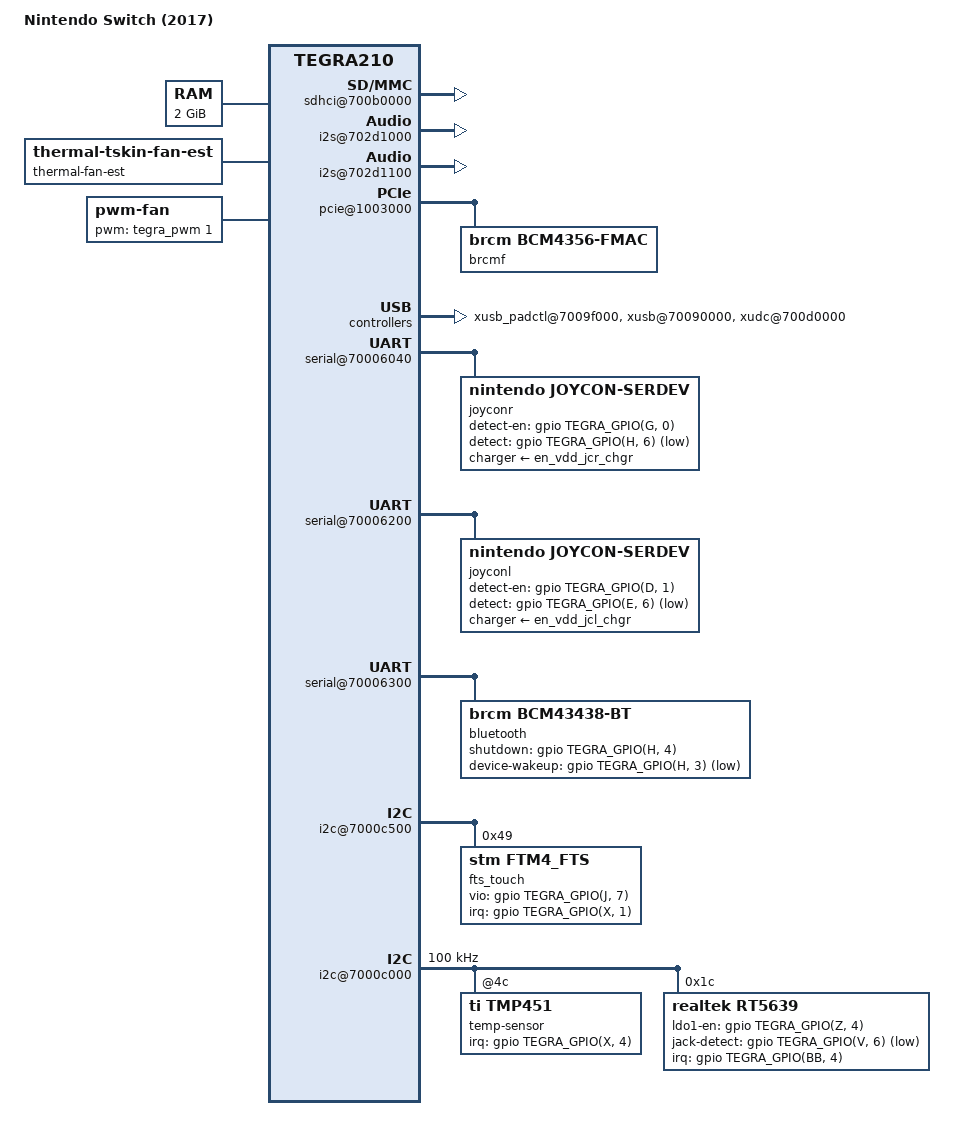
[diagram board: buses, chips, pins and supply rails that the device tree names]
/*
 * Copyright (c) 2019-2020, Billy Laws <blaws05@gmail.com>
 * Copyright (c) 2018-2023, CTCaer <ctcaer@gmail.com>
 *
 * This program is free software; you can redistribute it and/or modify
 * it under the terms of the GNU General Public License as published by
 * the Free Software Foundation; version 2 of the License.
 *
 * This program is distributed in the hope that it will be useful, but WITHOUT
 * ANY WARRANTY; without even the implied warranty of MERCHANTABILITY or
 * FITNESS FOR A PARTICULAR PURPOSE.  See the GNU General Public License for
 * more details.
 *
 */

/dts-v1/;

/memreserve/ 0x80000000 0x00020000;

#include <t210-common-platforms/tegra210-common.dtsi>
#include <t210-common-platforms/tegra210-cpufreq.dtsi>
#include "tegra210-odin-gpio.dtsi"
#include "tegra210-odin-pinmux.dtsi"
#include "tegra210-odin-prods.dtsi"
#include <tegra210-soc/tegra210-sdhci.dtsi>
#include "tegra210-nx-keys.dtsi"
#include <tegra210-soc/tegra210-audio.dtsi>
#include <t210-common-platforms/tegra210-thermal-nct72-p2530.dtsi>
#include <tegra210-soc/tegra210-thermal-Tboard-Tdiode.dtsi>
#include <dt-bindings/clock/tegra210-car.h>
#include <dt-bindings/reset/tegra210-car.h>
#include <dt-bindings/soc/tegra-pmc.h>
#include <dt-bindings/thermal/tegra124-soctherm.h>
#include <dt-bindings/thermal/tegra210-trips.h>

/ {
	model = "Nintendo Switch (2017)";
	compatible = "nvidia,odin", "nintendo,icosa", "nintendo,nx", "nvidia,tegra210";

	nvidia,boardids = "2595:0000:A0";
	nvidia,proc-boardid = "2595:0000:A0";
	nvidia,pmu-boardid = "2595:0000:A0";
	#address-cells = <2>;
	#size-cells = <2>;

	serial-number = "1234";

	chosen {
		bootargs = "root=/dev/mmcblk0p1 rw rootwait fbcon=rotate:3 printk.synchronous=1 loglevel=8 console=fb0 console=ttyGS0";
		nvidia,bluetooth-mac = "11:22:33:44:55:66";
		nvidia,wifi-mac = "11:22:33:44:55:77";
	};

	rtc {
		nvidia,pmc-wakeup = <&tegra_pmc PMC_WAKE_TYPE_EVENT 16
			PMC_TRIGGER_TYPE_HIGH>; /* rtc_irq */
	};

	tegra_fiq_debugger {
		status = "disabled";
	};

	pmc@7000e400 {
		/delete-property/ nvidia,secure-pmc;
		nvidia,invert-interrupt;
		nvidia,suspend-mode = <0>;
		nvidia,cpu-pwr-good-time = <0>;
		nvidia,cpu-pwr-off-time = <0>;
		nvidia,core-pwr-good-time = <13092 7752>;
		nvidia,core-pwr-off-time = <44188>;
		nvidia,core-pwr-req-active-high;
		nvidia,sys-clock-req-active-high;
		#nvidia,wake-cells = <3>;
		iopad-defaults {
			audio-hv-pads {
				pins = "audio-hv";
				nvidia,power-source-voltage = <TEGRA_IO_PAD_VOLTAGE_1800000UV>;
			};

			spi-hv-pads {
				pins = "spi-hv";
				nvidia,power-source-voltage = <TEGRA_IO_PAD_VOLTAGE_1800000UV>;
			};

			gpio-pads {
				pins = "gpio";
				nvidia,power-source-voltage = <TEGRA_IO_PAD_VOLTAGE_1800000UV>;
			};

			sdmmc1-pads {
				pins = "sdmmc1";
				nvidia,enable-voltage-switching;
			};

			sdmmc3-pads {
				pins = "sdmmc3";
				nvidia,power-source-voltage = <TEGRA_IO_PAD_VOLTAGE_1800000UV>;
				nvidia,enable-voltage-switching;
				low-power-enable;
			};
		};
	};

	memory@80000000 {
		device_type = "memory";
		reg = < 0x0 0x80000000 0x0 0x80000000 >;
	};

	sdhci@700b0600 { /* SDMMC4 for EMMC */
		cd-gpios = <&gpio TEGRA_GPIO(Z, 1) 0>;
		bus-width = <8>;
		uhs-mask = <0x0>;       /* hs400 */
		tap-delay = <0>;
		trim-delay = <8>;
		only-1-8-v;
		no-sdio;
		no-sd;
		max-clk-limit = <200000000>;
		pll_source = "pll_p", "pll_c4_out2";
		clocks = <&tegra_car TEGRA210_CLK_SDMMC4>,
			   <&tegra_car TEGRA210_CLK_PLL_P>,
			   <&tegra_car TEGRA210_CLK_PLL_C4_OUT2>,
			   <&tegra_car TEGRA210_CLK_SDMMC_LEGACY>;
		clock-names = "sdmmc", "pll_p", "pll_c4_out2", "sdmmc_legacy_tm";
		status = "disabled";
	};

	sdhci@700b0400 { /* SDMMC3 Not Used */
		status = "disabled";
	};

	sdhci@700b0200 { /* SDMMC2 for Gamecard */
		uhs-mask = <0x0>;	/* hs400 */
		tap-delay = <0>;
		trim-delay = <8>;
		nvidia,is-ddr-tap-delay;
		nvidia,ddr-tap-delay = <0>;
		mmc-ocr-mask = <0>;
		dqs-trim-delay = <17>;
		dqs-trim-delay-hs533 = <24>;
		max-clk-limit = <200000000>;
		bus-width = <8>;
		built-in;
		calib-3v3-offsets = <0x0505>;
		calib-1v8-offsets = <0x0505>;
		compad-vref-3v3 = <0x7>;
		compad-vref-1v8 = <0x7>;
		nvidia,en-io-trim-volt;
		nvidia,is-emmc;
		nvidia,enable-cq;
		ignore-pm-notify;
		keep-power-in-suspend;
		non-removable;
		cap-mmc-highspeed;
		cap-sd-highspeed;
		mmc-ddr-1_8v;
		mmc-hs200-1_8v;
		mmc-hs400-1_8v;
		nvidia,enable-strobe-mode;
		pll_source = "pll_p", "pll_c4_out2";
		clocks = <&tegra_car TEGRA210_CLK_SDMMC2>,
			   <&tegra_car TEGRA210_CLK_PLL_P>,
			   <&tegra_car TEGRA210_CLK_PLL_C4_OUT2>;
		clock-names = "sdmmc", "pll_p", "pll_c4_out2";
		status = "disabled";
	};

	sdhci@700b0000 { /* SDMMC1 for uSD card */
		uhs-mask = <0x0c>;
		tap-delay = <4>;
		trim-delay = <2>;
		power-off-rail;
		default-drv-type = <0x01>;
		nvidia,update-pinctrl-settings;
		nvidia,sd-device;
		no-sdio;
		no-mmc;
		max-clk-limit = <200000000>;
		default-drv-type = <1>;
		pll_source = "pll_p", "pll_c4_out2";
		clocks = <&tegra_car TEGRA210_CLK_SDMMC1>,
			   <&tegra_car TEGRA210_CLK_PLL_P>,
			   <&tegra_car TEGRA210_CLK_PLL_C4_OUT2>,
			   <&tegra_car TEGRA210_CLK_SDMMC_LEGACY>;
		clock-names = "sdmmc", "pll_p", "pll_c4_out2", "sdmmc_legacy_tm";
		nvidia,cd-wakeup-capable;
		status = "okay";

		nvidia,pmc-wakeup = <&tegra_pmc
			PMC_WAKE_TYPE_EVENT 35 (PMC_TRIGGER_TYPE_RISING | PMC_TRIGGER_TYPE_FALLING)>; /* gpio_pz1_IB */
	};

	aconnect@702c0000 {
		status = "okay";

		adma@702e2000  {
			status = "okay";
		};

		ahub {
			i2s@702d1000 {
				pinctrl-names = "dap_active", "dap_inactive";
				pinctrl-0 = <>;
				pinctrl-1 = <>;
				regulator-supplies = "vdd-1v8-audio-hv", "vdd-1v8-audio-hv-bias";
				vdd-1v8-audio-hv-supply = <&max77620_sd3>;
				vdd-1v8-audio-hv-bias-supply = <&max77620_sd3>;
				fsync-width = <31>;
				status = "okay";
			};

			i2s@702d1100 {
				pinctrl-names = "dap_active", "dap_inactive";
				pinctrl-0 = <>;
				pinctrl-1 = <>;
				regulator-supplies = "vdd-1v8-spi-hv", "vdd-1v8-spi-hv-bias";
				vdd-1v8-spi-hv-supply = <&max77620_sd3>;
				vdd-1v8-spi-hv-bias-supply = <&max77620_sd3>;
				fsync-width = <0>;
				status = "okay";
			};

			i2s@702d1200 {
				status = "disabled";
			};

			i2s@702d1300 {
				status = "disabled";
			};

			i2s@702d1400 {
				status = "disabled";
			};
		};

		adsp_audio {
			status = "disabled";
		};
	};

	pcie@1003000 {
		/* nvidia,wake-gpio = <&gpio TEGRA_GPIO(A, 2) 0>; */ /* BCM4356 WIFI PME */

		avdd-pll-uerefe-supply = <&max77620_ldo7>;
		hvddio-pex-supply = <&max77620_sd3>;
		dvddio-pex-supply = <&max77620_ldo1>;
		dvdd-pex-pll-supply = <&max77620_ldo1>;
		hvdd-pex-pll-e-supply = <&max77620_sd3>;
		vddio-pex-ctl-supply = <&max77620_sd3>;
		status = "okay";

		pci@1,0 {
			phys =	<&{/xusb_padctl@7009f000/pads/pcie/lanes/pcie-4}>, /* Referred to plat config */
				<&{/xusb_padctl@7009f000/pads/pcie/lanes/pcie-3}>,
				<&{/xusb_padctl@7009f000/pads/pcie/lanes/pcie-2}>,
				<&{/xusb_padctl@7009f000/pads/pcie/lanes/pcie-1}>;
			phy-names = "pcie-0", "pcie-1", "pcie-2", "pcie-3";
			nvidia,num-lanes = <4>;
			nvidia,sw-link-disable; /* Nothing is connected, so skip detection */
			status = "okay"; /* Driver hangs on T210 if disabled */
		};

		pci@2,0 {
			phys = <&{/xusb_padctl@7009f000/pads/pcie/lanes/pcie-0}>;
			phy-names = "pcie-0";
			status = "okay";

			brcmf { /* PCIE-0 (Port 1) */
				compatible = "brcm,bcm4356-fmac";
				brcm,reset_on_wake;

				/* nvidia,pmc-wakeup = <&tegra_pmc
					PMC_WAKE_TYPE_EVENT 8 PMC_TRIGGER_TYPE_HIGH>; */ /* WiFi Wake Ap (H, 2) */
			};
		};
	};

	xusb_padctl@7009f000 {
		status = "okay";
		usb3-no-mapping-war = <0>; /* Enable if T210 and usb3 is disabled */

		pads {
			usb2 {
				status = "okay";

				lanes {
					usb2-0 {
						nvidia,function = "xusb";
						status = "okay";
					};
				};
			};

			pcie {
				status = "okay";

				lanes {
					/* BCM4356A3-WiFi */
					pcie-0 {
						nvidia,function = "pcie-x1";
						status = "okay";
					};

					/* Unused ports */
					pcie-1 {
						nvidia,function = "pcie-x4";
						status = "okay";
					};
					pcie-2 {
						nvidia,function = "pcie-x4";
						status = "okay";
					};
					pcie-3 {
						nvidia,function = "pcie-x4";
						status = "okay";
					};
					pcie-4 {
						nvidia,function = "pcie-x4";
						status = "okay";
					};
					pcie-5 {
						nvidia,function = "xusb";
						status = "okay";
					};

					/* USB3 port */
					pcie-6 {
						nvidia,function = "xusb";
						status = "okay";
					};
				};
			};
		};

		ports {
			usb2-0 {
				status = "okay";
				mode = "otg";
				nvidia,usb3-port-fake = <0>;
			};

			usb3-0 {
				nvidia,usb2-companion = <0>;
				status = "okay";
			};
		};
	};

	cpufreq {
		cpu-scaling-data {
			freq-table = <
				102000
				204000
				306000
				408000
				510000
				612000
				714000
				816000
				918000
				1020000
				1122000
				1224000
				1326000
				1428000
				1581000
				1683000
				1785000
				/* OC */
				1887000
				1989000
				2091000
			>;
			max-frequency = <2091000>;
			max-safe-frequency = <1785000>;
			preserve-across-suspend;
		};

		emc-scaling-data {
			emc-cpu-limit-table = <
				/* CPU    EMC */
				102000	68000
				204800	102000
				307200	204000
				403000	408000
				710400	665600
				921600	1600000
				1581000	2131200
			>;
		};
	};

	dvfs {
		compatible = "nvidia,tegra210-dvfs";
		/* Retail regulator: Max: 921600, Hard max 921600. */
		nvidia,gpu-max-freq-khz = <921600>;
	};

	gpu-dvfs-rework {
		status = "okay";
	};

	/* Console port */
	serial@70006000 {
		status = "disabled";
		console-port;
		sqa-automation-port;
		enable-rx-poll-timer;

		/delete-property/ resets;
		/delete-property/ reset-names;
	};

	/* Right Joycon */
	serial@70006040 {
		status = "okay";
		nvidia,invert-txd;
		nvidia,invert-rts;

		joyconr {
			status = "okay";
			name = "joyconr";
			compatible = "nintendo,joycon-serdev";
			charger-supply = <&en_vdd_jcr_chgr>;
			detect-en-gpios = <&gpio TEGRA_GPIO(G, 0) GPIO_ACTIVE_HIGH>;
			detect-gpios = <&gpio TEGRA_GPIO(H, 6) GPIO_ACTIVE_LOW>;
		};
	};

	/* Left Joycon */
	serial@70006200 {
		status = "okay";
		nvidia,invert-txd;
		nvidia,invert-rts;

		joyconl {
			status = "okay";
			name = "joyconl";
			compatible = "nintendo,joycon-serdev";
			charger-supply = <&en_vdd_jcl_chgr>;
			detect-en-gpios = <&gpio TEGRA_GPIO(D, 1) GPIO_ACTIVE_HIGH>;
			detect-gpios = <&gpio TEGRA_GPIO(E, 6) GPIO_ACTIVE_LOW>;
		};
	};

	serial@70006300 {
		dma-names = "tx";
		status = "okay";

		bluetooth {
			compatible = "brcm,bcm43438-bt";
			shutdown-gpios = <&gpio TEGRA_GPIO(H, 4) GPIO_ACTIVE_HIGH>;
			device-wakeup-gpios = <&gpio TEGRA_GPIO(H, 3) GPIO_ACTIVE_LOW>;
			/* host-wakeup-gpios = <&gpio TEGRA_GPIO(H, 5) GPIO_ACTIVE_LOW>; */ /* Enables auto-sleep */
			max-speed = <3000000>; /* Max supported 4 MBaud */
			sco-routing = <1>; /* Over HCI */

			/* nvidia,pmc-wakeup = <&tegra_pmc PMC_WAKE_TYPE_EVENT 52 PMC_TRIGGER_TYPE_LOW>; */ /* bt_wake_ap_IB */
		};
	};

	mailbox@70098000 {
		status = "okay";
	};

	extcon {
		extcon@0 {
			status = "disabled";
		};
	};

	/delete-node/ psy_extcon_xudc;
	/delete-node/ usb_cd@7009f000;

	psy_extcon {
		compatible = "power-supply-extcon";
		extcon-cables = <&bm92t 1>;
		extcon-cable-names = "usb-charger";
	};

	xusb@70090000 {
		status = "okay";
		#extcon-cells = <1>;
		phys =  <&{/xusb_padctl@7009f000/pads/usb2/lanes/usb2-0}>,
			<&{/xusb_padctl@7009f000/pads/pcie/lanes/pcie-6}>;
		phy-names = "usb2-0", "usb3-0";
		extcon-cables = <&bm92t 0>;
		extcon-cable-names = "id";
		nvidia,boost_cpu_freq = <1200>;
	};

	xudc@700d0000 {
		#extcon-cells = <1>;
		status = "okay";
		phys =  <&{/xusb_padctl@7009f000/pads/usb2/lanes/usb2-0}>,
			<&{/xusb_padctl@7009f000/pads/pcie/lanes/pcie-6}>;
		phy-names = "usb2", "usb3";
		extcon-cables = <&bm92t 1>;
		extcon-cable-names = "vbus";
		nvidia,boost_cpu_freq = <1200>;
	};

	xotg {
		#extcon-cells = <1>;
		status = "disabled";
	};

	thermal_fan_est_shared_data: tfesd {
		secret = <37>;
		toffset = <0>;
		polling_period = <1100>;
		ndevs = <2>;
		cdev_type = "pwm-fan";
		tzp_governor_name = "continuous_therm_gov";

		dev1 {
			dev_data = "Tdiode_tegra";
			group = <0>;

			/* Odin SoC Console */
			coeffs_mode0 = <6182 112480>;

			/* Odin SoC Handheld */
			coeffs_mode1 = <5464 174190>;
		};

		dev2 {
			dev_data = "Tboard_tegra";
			group = <1>;

			/* Odin PCB Console */
			coeffs_mode0 = <6396 119440>;

			/* Odin PCB Handheld */
			coeffs_mode1 = <5817 129580>;
		};
	};

	thermal-fan-est {
		compatible = "thermal-tskin-fan-est";
		name = "thermal-fan-est";
		status = "okay";

		num_resources = <0>;
		shared_data = <&thermal_fan_est_shared_data>;
		trip_length = <10>;

		thermal-zone-params {
			governor-name = "continuous_therm_gov";
			iir_power = <7>;
			iir_min = <10>;
			iir_max = <1000>;
			iir_gain_qp = <1000>;
			iir_upper_width = <5000>;
			iir_lower_width = <15000>;
		};

		profiles {
			default = "Console";
			Console {
				name = "Console";
				active_trip_temps = <
					0 36000 40000 43000 53000 58000
					70000 80000 90000 100000>; /* Unused */
				active_hysteresis = <0 0 3900 2900 0 0 0 0 0 0>;
			};
			Handheld {
				name = "Handheld";
				active_trip_temps = <
					0 36000 40000 43000 48000 53000 58000 60000
					90000 100000>; /* Unused */
				active_hysteresis = <0 0 3900 2900 0 4900 0 0 0 0>;
			};
			/* Uses Handheld tskin coeffs and Console fan duties */
			Cool {
				name = "Cool";
				active_trip_temps = <
					0 32000 37000 40000 45000 55000
					70000 80000 90000 100000>; /* Unused */
				active_hysteresis = <0 0 0 0 0 0 0 0 0 0>;
			};
		};
	};

	pwm_fan_shared_data: pfsd {
		secret = <47>;
		num_resources = <0>;
		active_steps = <10>;
		active_rpm = <0 0 2600 2600 4900 6900 10000 10000 10000 10000>;
		active_rru = <10 10 10 1 1 1 1 1 1 1>;
		active_rrd = <10 10 10 1 1 1 1 1 1 1>;
		state_cap_lookup = <1 1 2 6 6 6 6 6 6 6>;

		pwm_period = <33333>;
		pwm_id = <1>;
		pwm_polarity = <1>;
		step_time = <100>;
		state_cap = <6>;
		active_pwm_max = <256>;
		tach_gpio =  <&gpio TEGRA_GPIO(S, 7) GPIO_ACTIVE_LOW>; /* TEGRA_GPIO_PS7 */
		pwm_gpio = <&gpio TEGRA_GPIO(V, 4) GPIO_ACTIVE_LOW>; /* TEGRA_GPIO_PV4 */
		tach_period = <1000>;
	};

	pwm-fan {
		compatible = "pwm-fan";
		name = "pwm-fan";
		status = "okay";
		pwms = <&tegra_pwm 1 33333>;
		shared_data = <&pwm_fan_shared_data>;
		continuous_gov_boot_on;

		profiles {
			default = "Console";
			Console {
				name = "Console";
				state_cap = <6>;
				active_pwm = <0 0 51 51 153 255 255 255 255 255>;
			};
			Handheld {
				name = "Handheld";
				state_cap = <7>;
				active_pwm = <0 0 51 51 102 153 204 255 255 255>;
			};
			Cool {
				name = "Cool";
				state_cap = <6>;
				active_pwm = <0 0 51 51 153 255 255 255 255 255>;
			};
		};
	};

	ptm {
		status = "disabled";
	};

	i2c@7000c500 {
		fts_touch: fts@49 {
			compatible = "stm,ftm4_fts";
			status = "okay";
			reg = <0x49>;
			interrupt-parent = <&gpio>;
			interrupts = <TEGRA_GPIO(X, 1) IRQ_TYPE_LEVEL_LOW>;
			stm,vio-gpio = <&gpio TEGRA_GPIO(J, 7) GPIO_ACTIVE_HIGH>;
			stm,irq_type = <0x2000>; /* IRQF_ONESHOT */
			stm,regulator_avdd = "vdd-tp-2v9";
			stm,max_coords = <1280 720>;
			stm,max-real-coords = <1264 704>;
			stm,edge-offset = <15 15>;
			stm,delayed-open;
			stm,delayed-open-time = <0>;
		};
	};

	i2c@7000c000 {
		clock-frequency = <100000>;

		temp-sensor@4c {
			compatible = "ti,tmp451";
			interrupt-parent = <&gpio>;
			interrupts = <TEGRA_GPIO(X, 4) IRQ_TYPE_LEVEL_LOW>;
			loc-shutdown-limit = <120>;
			ext-shutdown-limit = <96>;

			/delete-node/ loc;
			/delete-node/ ext;
		};

		rt5639: rt5639@1c {
			compatible = "realtek,rt5639";
			reg = <0x1c>;
			interrupt-parent = <&gpio>;
			interrupts = <TEGRA_GPIO(BB, 4) IRQ_TYPE_EDGE_RISING>;
			realtek,ldo1-en-gpios = <&gpio TEGRA_GPIO(Z, 4) GPIO_ACTIVE_HIGH>;
			realtek,jack-detect-gpios = <&gpio TEGRA_GPIO(V, 6) GPIO_ACTIVE_LOW>;
			realtek,over-current-threshold-microamp = <600>;
			realtek,over-current-scale-factor = <2>;
			realtek,external-microphone;
			realtek,sel-jd-source = <4>;
			realtek,jack-detect-is-jd1;
			realtek,eq-config-type = <0>;
		};
	};

	tegra_sound: sound {
		compatible = "nvidia,tegra-audio-t210ref-mobile-rt5640";
		nvidia,model = "tegra-snd-t210ref-mobile-rt565x";

		clocks = <&tegra_car TEGRA210_CLK_PLL_P_OUT1>,
						<&tegra_car TEGRA210_CLK_PLL_A>,
						<&tegra_car TEGRA210_CLK_PLL_A_OUT0>,
						<&tegra_car TEGRA210_CLK_D_AUDIO>,
						<&tegra_car TEGRA210_CLK_CLK_M>,
						<&tegra_car TEGRA210_CLK_EXTERN1>;
		clock-names = "pll_p_out1", "pll_a", "pll_a_out0", "ahub",
			"clk_m", "extern1";


		assigned-clocks = <&tegra_car TEGRA210_CLK_PLL_A>,
			<&tegra_car TEGRA210_CLK_PLL_A_OUT0>,
			<&tegra_car TEGRA210_CLK_D_AUDIO>,
			<&tegra_car TEGRA210_CLK_EXTERN1>;
		assigned-clock-rates = <368640000>, <36864000>,
			<36864000>, <12288000>;

		nvidia,num-codec-link = <2>;

		nvidia,audio-routing =
			"x Headphone Jack",	"x HPOL",
			"x Headphone Jack",	"x HPOR",
			"x Int Spk",		"x SPORP",
			"x Int Spk",		"x SPORN",
			"x Int Spk",		"x SPOLP",
			"x Int Spk",		"x SPOLN",
			"x IN1P",		"x Mic Jack",
			"x IN1P",		"x Mic Jack",
			"y Headphone",		"y OUT",
			"y IN",			"y Mic";

		nvidia,xbar = <&tegra_axbar>;

		mclk-fs = <256>;

		/* RT5639 I2S1 */
		nvidia,dai-link-1 {
			link-name = "rt565x-playback";
			cpu-dai = <&tegra_i2s1>;
			codec-dai = <&rt5639>;
			cpu-dai-name = "I2S1";
			codec-dai-name = "rt5640-aif1";
			format = "i2s";
			bitclock-slave;
			frame-slave;
			bitclock-noninversion;
			frame-noninversion;
			bit-format = "s16_le";
			bclk-ratio = <0>;
			srate = <48000>;
			num-channel = <2>;
			name-prefix = "x";
		};

		/* BCM4356-BT PCM */
		nvidia,dai-link-2 {
			link-name = "spdif-dit-1";
			cpu-dai = <&tegra_i2s2>;
			codec-dai = <&spdif_dit1>;
			cpu-dai-name = "I2S2";
			codec-dai-name = "dit-hifi";
			format = "dsp_a";
			bitclock-slave;
			frame-slave;
			bitclock-inversion;
			frame-noninversion;
			bit-format = "s16_le";
			bclk-ratio = <4>;
			srate = <8000>;
			num-channel = <1>;
			name-prefix = "y";
		};
	};

	modem {
		status = "disabled";
		/* using XHCI UTMI */
		nvidia,phy-type = <2>;
	};

	wifi-antenna-tuning {
		status = "disabled";
	};

	tegra_udrm: tegra_udrm {
		compatible = "nvidia,tegra-udrm";
	};

	soctherm@0x700E2000 {
		throttle-cfgs {
			/* PG/ACOK/USB OC pin. CLK_32K_OUT. */
			/*
			throttle_oc1: oc1 { // Sticky mode but not supported.
				nvidia,priority = <16>;
				nvidia,polarity-active-low = <1>;
				nvidia,count-threshold = <0>;
				nvidia,throttle-period = <2500000>;
				nvidia,alarm-filter = <0xFFFFFFFF>;
				nvidia,cpu-throt-percent = <75>;
				nvidia,gpu-throt-level = <TEGRA_SOCTHERM_THROT_LEVEL_MED>;
			};
			*/

			/* Battery OC pin. GPIO_PL1. Traced but missing resistor. */
			/*
			throttle_oc2: oc2 {
				nvidia,priority = <24>;
				nvidia,polarity-active-low = <1>;
				nvidia,count-threshold = <0>;
				nvidia,throttle-period = <100>;
				nvidia,alarm-filter = <0xFFFFFFFF>;
				nvidia,cpu-throt-percent = <75>;
				nvidia,gpu-throt-level = <TEGRA_SOCTHERM_THROT_LEVEL_MED>;
			};
			*/

			/* throttle_oc3: oc3: GPIO_PZ5. Floating. */
		};
	};

	thermal-zones {
		CPU-therm {
			status = "okay";
			thermal-zone-params {
				governor-name = "pid_thermal_gov";
				max_err_temp = <9000>;
				max_err_gain = <1000>;
				gain_p = <1000>;
				gain_d = <0>;
				up_compensation = <20>;
				down_compensation = <20>;
			};
			trips {
				cpu_critical {
					temperature = <102500>;
					hysteresis = <0>;
					type = "critical";
					writable;
				};
				cpu_heavy {
					temperature = <98500>;
					hysteresis = <0>;
					type = "hot";
					writable;
				};
				cpu_throttle {
					temperature = <89000>;
					hysteresis = <0>;
					type = "passive";
					writable;
				};
				core_dvfs_floor_trip0: core_dvfs_floor_trip0 {
					temperature = <15000>;
					hysteresis = <1000>;
					type = "active";
				};

				core_dvfs_cap_trip0: core_dvfs_cap_trip0 {
					temperature = <86000>;
					hysteresis = <1000>;
					type = "active";
				};
			};
			cooling-maps {
				map0 {
					trip = <&{/thermal-zones/CPU-therm/trips/cpu_critical}>;
					cdev-type = "tegra-shutdown";
					cooling-device = <&{/soctherm@0x700E2000/throttle@critical}
						THERMAL_NO_LIMIT THERMAL_NO_LIMIT>;
				};
				map1 {
					trip = <&{/thermal-zones/CPU-therm/trips/cpu_heavy}>;
					cdev-type = "tegra-heavy";
					cooling-device = <&throttle_heavy 1 1>;
				};
				map2 {
					trip = <&{/thermal-zones/CPU-therm/trips/cpu_throttle}>;
					cdev-type = "cpu-balanced";
					cooling-device = <&{/bthrot_cdev/cpu_balanced}
						THERMAL_NO_LIMIT THERMAL_NO_LIMIT>;
				};
				core_dvfs_floor_map0 {
					trip = <&core_dvfs_floor_trip0>;
					cooling-device = <&core_dvfs_floor 1 1>;
				};
				core_dvfs_cap_map0 {
					trip = <&core_dvfs_cap_trip0>;
					cooling-device = <&core_dvfs_cap 1 1>;
				};
			};
		};
		GPU-therm {
			status = "okay";
			thermal-zone-params {
				governor-name = "pid_thermal_gov";
				max_err_temp = <9000>;
				max_err_gain = <1000>;
				gain_p = <1000>;
				gain_d = <0>;
				up_compensation = <20>;
				down_compensation = <20>;
			};
			trips {
				gpu_critical {
					temperature = <103000>;
					hysteresis = <0>;
					type = "critical";
					writable;
				};
				gpu_heavy {
					temperature = <100000>;
					hysteresis = <0>;
					type = "hot";
					writable;
				};
				gpu_throttle {
					temperature = <90500>;
					hysteresis = <0>;
					type = "passive";
					writable;
				};
			};
			cooling-maps {
				map0 {
					trip = <&{/thermal-zones/GPU-therm/trips/gpu_critical}>;
					cdev-type = "tegra-shutdown";
					cooling-device = <&{/soctherm@0x700E2000/throttle@critical}
						THERMAL_NO_LIMIT THERMAL_NO_LIMIT>;
				};
				map1 {
					trip = <&{/thermal-zones/GPU-therm/trips/gpu_heavy}>;
					cdev-type = "tegra-heavy";
					cooling-device = <&throttle_heavy 1 1>;
				};
				map2 {
					trip = <&{/thermal-zones/GPU-therm/trips/gpu_throttle}>;
					cdev-type = "gpu-balanced";
					cooling-device = <&{/bthrot_cdev/gpu_balanced}
						THERMAL_NO_LIMIT THERMAL_NO_LIMIT>;
				};
			};
		};
		LCPU-therm {
			status = "disabled";
		};
		PLL-therm {
			status = "okay";
			thermal-zone-params {
				governor-name = "pid_thermal_gov";
				max_err_temp = <9000>;
				max_err_gain = <1000>;
				gain_p = <1000>;
				gain_d = <0>;
				up_compensation = <20>;
				down_compensation = <20>;
			};
		};
		Tboard_tegra {
			status = "okay";
			polling-delay = <0>;
			polling-delay-passive = <5500>;

			trips {
				board_emergency {
					temperature = <85000>;
					hysteresis = <2000>;
					type = "passive";
					writable;
				};
			};
			cooling-maps {
				map0 {
					trip = <&{/thermal-zones/Tboard_tegra/trips/board_emergency}>;
					cdev-type = "emergency-balanced";
					cooling-device = <&{/bthrot_cdev/emergency_balanced}
						THERMAL_NO_LIMIT THERMAL_NO_LIMIT>;
				};
			};
		};
		Tdiode_tegra {
			status = "okay";
			polling-delay = <0>;
			polling-delay-passive = <1100>;

			trips {
				soc_critical {
					temperature = <96000>;
					hysteresis = <0>;
					type = "critical";
					writable;
				};
				soc_emergency {
					temperature = <85000>;
					hysteresis = <2000>;
					type = "passive";
					writable;
				};
			};
			cooling-maps {
				map0 {
					trip = <&{/thermal-zones/Tdiode_tegra/trips/soc_critical}>;
					cdev-type = "tegra-shutdown";
					cooling-device = <&{/soctherm@0x700E2000/throttle@critical}
						THERMAL_NO_LIMIT THERMAL_NO_LIMIT>;
				};
				map1 {
					trip = <&{/thermal-zones/Tdiode_tegra/trips/soc_emergency}>;
					cdev-type = "emergency-balanced";
					cooling-device = <&{/bthrot_cdev/emergency_balanced}
						THERMAL_NO_LIMIT THERMAL_NO_LIMIT>;
				};
			};
		};
		AO-therm {
			status = "okay";
		};
		PMIC-Die-max77621-0 {
			status = "okay";
			polling-delay = <0>; /* milliseconds */
			polling-delay-passive = <0>; /* milliseconds */
			thermal-sensors = <&cpu_max77621_reg>;

			trips {
				die_temp_thresh_max77621_0: hot-die {
					temperature = <120000>;
					type = "active";
					hysteresis = <0>;
				};
			};

			cooling-maps {
				map0 {
					trip = <&die_temp_thresh_max77621_0>;
					cooling-device = <&{/bthrot_cdev/emergency_balanced}
							THERMAL_NO_LIMIT THERMAL_NO_LIMIT>;
					contribution = <100>;
					cdev-type = "emergency-balanced";
				};
			};
		};

		PMIC-Die-max77621-1 {
			status = "okay";
			polling-delay = <0>; /* milliseconds */
			polling-delay-passive = <0>; /* milliseconds */
			thermal-sensors = <&gpu_max77621_reg>;

			trips {
				die_temp_thresh_max77621_1: hot-die {
					temperature = <120000>;
					type = "active";
					hysteresis = <0>;
				};
			};

			cooling-maps {
				map0 {
					trip = <&die_temp_thresh_max77621_1>;
					cooling-device = <&{/bthrot_cdev/emergency_balanced}
							THERMAL_NO_LIMIT THERMAL_NO_LIMIT>;
					contribution = <100>;
					cdev-type = "emergency-balanced";
				};
			};
		};
	};

	dummy_cool_dev: dummy-cool-dev {
		status = "disabled";
	};

	clock@70110000 {
		status = "okay";
		vdd-cpu-supply = <&cpu_max77621_reg>;
		nvidia,align-step-uv = <6250>;
		nvidia,sample-rate = <25000>;
		nvidia,droop-ctrl = <0x00000f00>;
		nvidia,force-mode = <1>;
		nvidia,cf = <6>;
		nvidia,ci = <0>;
		nvidia,cg = <2>;
		nvidia,i2c-fs-rate = <400000>;
		nvidia,pmic-undershoot-gb = <0>; /* Use pmic default min */
		/* nvidia,dfll-max-freq-khz = <1224000>; */
	};

	cpus {
		cpu@0 {
			compatible = "arm,cortex-a57", "arm,armv8";
			clocks = <&tegra_car TEGRA210_CLK_CCLK_G>,
				 <&tegra_car TEGRA210_CLK_CCLK_LP>,
				 <&tegra_car TEGRA210_CLK_PLL_X>,
				 <&tegra_car TEGRA210_CLK_PLL_P_OUT4>,
				 <&tegra_clk_dfll>;
			clock-names = "cpu_g", "cpu_lp", "pll_x", "pll_p", "dfll";
			clock-latency = <300000>;
		};

		cpu@1 {
			compatible = "arm,cortex-a57", "arm,armv8";
		};

		cpu@2 {
			compatible = "arm,cortex-a57", "arm,armv8";
		};

		cpu@3 {
			compatible = "arm,cortex-a57", "arm,armv8";
		};
	};

	memory-controller@70019000 {
		status = "okay";
	};

	reserved-memory {
		iram-carveout {
			status = "disabled";
		};
		vpr-carveout {
			status = "disabled";
		};
	};

	nvpmodel {
		/* clocks = <&tegra_car TEGRA210_CLK_EMC>; */
		/* clock-names = "emc"; */
		status = "okay";
	};

	nvdumper {
		status = "disabled";
	};

	dfll_cap: dfll-cdev-cap {
		compatible = "nvidia,tegra-dfll-cdev-action";
		act-dev = <&tegra_clk_dfll>;
		cdev-type = "DFLL-cap";
		#cooling-cells = <2>; /* min followed by max */
	};

	dfll_floor: dfll-cdev-floor {
		compatible = "nvidia,tegra-dfll-cdev-action";
		act-dev = <&tegra_clk_dfll>;
		cdev-type = "DFLL-floor";
		#cooling-cells = <2>; /* min followed by max */
	};

	thermal-zones {
		CPU-therm {
			trips {
				dfll_floor_trip0: dfll-floor-trip0 {
					temperature = <TEGRA210_DFLL_THERMAL_FLOOR_0>; /* millicelsius */
					hysteresis = <1000>; /* millicelsius */
					type = "active";
				};
				dfll_floor_trip1: dfll-floor-trip1 {
					temperature = <TEGRA210_DFLL_THERMAL_FLOOR_1>; /* millicelsius */
					hysteresis = <1000>; /* millicelsius */
					type = "active";
				};
				dfll_floor_trip2: dfll-floor-trip2 {
					temperature = <TEGRA210_DFLL_THERMAL_FLOOR_2>; /* millicelsius */
					hysteresis = <1000>; /* millicelsius */
					type = "active";
				};
				dfll_floor_trip3: dfll-floor-trip3 {
					temperature = <TEGRA210_DFLL_THERMAL_FLOOR_3>; /* millicelsius */
					hysteresis = <1000>; /* millicelsius */
					type = "active";
				};
				dfll_cap_trip0: dfll-cap-trip0 {
					temperature = <TEGRA210_DFLL_THERMAL_CAP_0>; /* millicelsius */
					hysteresis = <1000>; /* millicelsius */
					type = "active";
				};
				dfll_cap_trip1: dfll-cap-trip1 {
					temperature = <TEGRA210_DFLL_THERMAL_CAP_1>; /* millicelsius */
					hysteresis = <1000>; /* millicelsius */
					type = "active";
				};
			};

			cooling-maps {
				dfll_map0 {
					trip = <&dfll_floor_trip0>;
					cooling-device = <&dfll_floor 1 1>;
				};
				dfll_map1 {
					trip = <&dfll_floor_trip1>;
					cooling-device = <&dfll_floor 2 2>;
				};
				dfll_map2 {
					trip = <&dfll_floor_trip2>;
					cooling-device = <&dfll_floor 3 3>;
				};
				dfll_map3 {
					trip = <&dfll_floor_trip3>;
					cooling-device = <&dfll_floor 4 4>;
				};
				dfll_map5 {
					trip = <&dfll_cap_trip0>;
					cooling-device = <&dfll_cap 1 1>;
				};
				dfll_map6 {
					trip = <&dfll_cap_trip1>;
					cooling-device = <&dfll_cap 2 2>;
				};
			};
		};
	};
};
